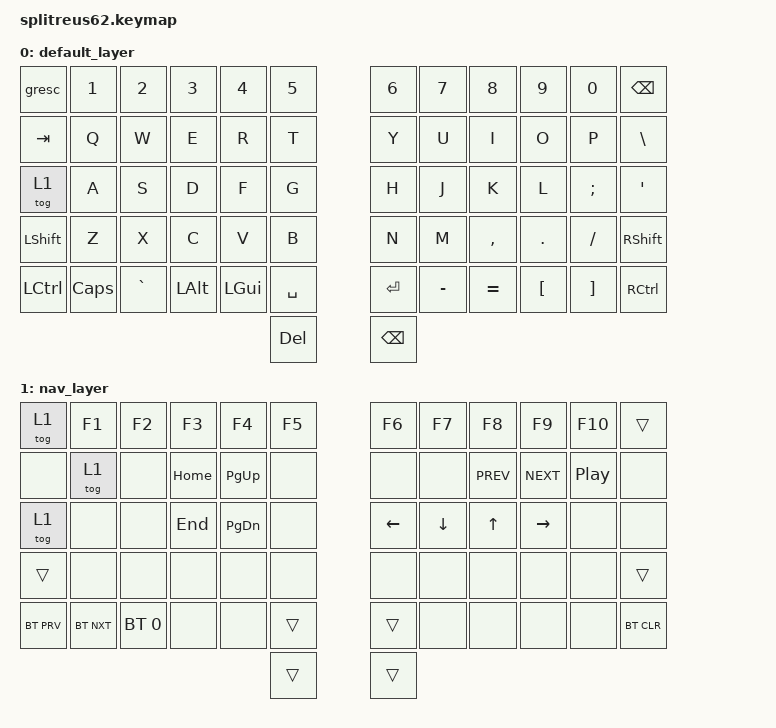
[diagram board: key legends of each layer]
/*
 * Copyright (c) 2022 Derek Schmell, Lucas Messenger
 *
 * SPDX-License-Identifier: MIT
 */

#include <behaviors.dtsi>
#include <dt-bindings/zmk/keys.h>
#include <dt-bindings/zmk/bt.h>

/ {

    behaviors {
        gresc: grave_escape {
            keep-mods = <(MOD_LSFT|MOD_RSFT)>;
        };
    };

    keymap {
        compatible = "zmk,keymap";

        default_layer {
            bindings = <
&gresc   &kp N1    &kp N2    &kp N3    &kp N4    &kp N5                      &kp N6    &kp N7    &kp N8    &kp N9    &kp N0    &kp BSPC
&kp TAB  &kp Q     &kp W     &kp E     &kp R     &kp T                       &kp Y     &kp U     &kp I     &kp O     &kp P     &kp BSLH
&tog 1   &kp A     &kp S     &kp D     &kp F     &kp G                       &kp H     &kp J     &kp K     &kp L     &kp SEMI  &kp SQT
&kp LSHIFT &kp Z   &kp X     &kp C     &kp V     &kp B                       &kp N     &kp M     &kp COMMA &kp DOT   &kp FSLH  &kp RSHIFT
&kp LCTRL &kp CLCK &kp GRAVE  &kp LALT  &kp LGUI &kp SPACE                   &kp RET   &kp MINUS &kp EQUAL &kp LBKT  &kp RBKT  &kp RCTRL
                                                 &kp DEL                     &kp BSPC
            >;
        };

        nav_layer {
            bindings = <
&tog 1     &kp F1     &kp F2       &kp F3    &kp F4     &kp F5                      &kp F6    &kp F7    &kp F8     &kp F9     &kp F10   &trans
&none      &tog 1     &none        &kp HOME  &kp PG_UP  &none                       &none     &none     &kp C_PREV &kp C_NEXT &kp C_PP  &none
&tog 1     &none      &none        &kp END   &kp PG_DN  &none                       &kp LEFT  &kp DOWN  &kp UP     &kp RIGHT  &none     &none
&trans     &none      &none        &none     &none      &none                       &none     &none     &none      &none      &none     &trans
&bt BT_PRV &bt BT_NXT &bt BT_SEL 0 &none     &none      &trans                      &trans    &none     &none      &none      &none     &bt BT_CLR
                                                        &trans                      &trans
            >;
        };
    };
};
